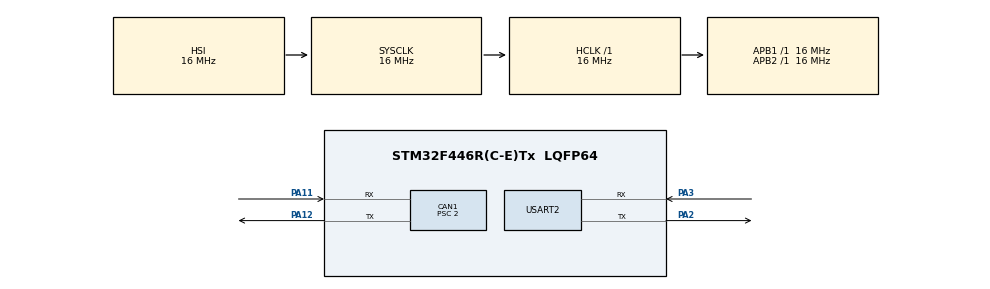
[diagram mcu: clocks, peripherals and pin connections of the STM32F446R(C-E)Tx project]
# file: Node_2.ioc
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CAN1.ABOM=ENABLE
CAN1.BS1=CAN_BS1_13TQ
CAN1.BS2=CAN_BS2_2TQ
CAN1.CalculateBaudRate=500000
CAN1.CalculateTimeBit=2000
CAN1.CalculateTimeQuantum=125.0
CAN1.Mode=CAN_MODE_SILENT
CAN1.NART=DISABLE
CAN1.Prescaler=2
Mcu.Family=STM32F4
Mcu.Name=STM32F446R(C-E)Tx
Mcu.Package=LQFP64
NVIC.PriorityGroup=NVIC_PRIORITYGROUP_0
PA11.Mode=CAN_Activate
PA11.Signal=CAN1_RX
PA12.Mode=CAN_Activate
PA12.Signal=CAN1_TX
PA2.Mode=Asynchronous
PA2.Signal=USART2_TX
PA3.Mode=Asynchronous
PA3.Signal=USART2_RX
ProjectManager.HeapSize=0x200
ProjectManager.StackSize=0x400
ProjectManager.TargetToolchain=STM32CubeIDE
RCC.48MHZClocksFreq_Value=84000000
RCC.AHBFreq_Value=16000000
RCC.APB1Freq_Value=16000000
RCC.APB1TimFreq_Value=16000000
RCC.APB2Freq_Value=16000000
RCC.APB2TimFreq_Value=16000000
RCC.CortexFreq_Value=16000000
RCC.FLatency-AdvancedSettings=FLASH_LATENCY_0
RCC.HCLKFreq_Value=16000000
RCC.HSE_VALUE=8000000
RCC.HSI_VALUE=16000000
RCC.PLLN=336
RCC.PLLP=RCC_PLLP_DIV4
RCC.SYSCLKFreq_VALUE=16000000
RCC.USBFreq_Value=168000000
RCC.VCOOutputFreq_Value=336000000
USART2.VirtualMode=VM_ASYNC
board=NUCLEO-F446RE

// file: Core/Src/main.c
/* USER CODE BEGIN Header */
/**
  ******************************************************************************
  * @file           : main.c
  * @brief          : Main program body
  ******************************************************************************
  * @attention
  *
  * Copyright (c) 2023 STMicroelectronics.
  * All rights reserved.
  *
  * This software is licensed under terms that can be found in the LICENSE file
  * in the root directory of this software component.
  * If no LICENSE file comes with this software, it is provided AS-IS.
  *
  ******************************************************************************
  */
/* USER CODE END Header */
#include "main.h"

CAN_HandleTypeDef hcan1;

UART_HandleTypeDef huart2;

void SystemClock_Config(void);
static void MX_GPIO_Init(void);
static void MX_USART2_UART_Init(void);
static void MX_CAN1_Init(void);
/* USER CODE BEGIN PFP */
// void CAN1_Rx(void);
void CAN_Filter_Config(void);
void Process_CAN_Message(CAN_RxHeaderTypeDef* RxHeader, uint8_t* data);
/* USER CODE END PFP */

/* USER CODE BEGIN 0 */
// uint16_t received_distance_1;
// uint16_t received_distance_2;
/* USER CODE END 0 */

int main(void)
{

  /* MCU Configuration--------------------------------------------------------*/

  /* Reset of all peripherals, Initializes the Flash interface and the Systick. */
  HAL_Init();

  /* Configure the system clock */
  SystemClock_Config();

  /* Initialize all configured peripherals */
  MX_GPIO_Init();
  MX_USART2_UART_Init();
  MX_CAN1_Init();
  /* USER CODE BEGIN 2 */
  CAN_Filter_Config();

  if( HAL_CAN_Start(&hcan1) != HAL_OK)
  {
	  Error_Handler();
  }

  CAN_RxHeaderTypeDef RxHeader;
  uint8_t rcvd_msg[8];
  /* USER CODE END 2 */

  /* Infinite loop */
  while (1)
  {

    /* USER CODE BEGIN 3 */
	  if(HAL_CAN_GetRxMessage(&hcan1,CAN_RX_FIFO0,&RxHeader,rcvd_msg) == HAL_OK)
	  {
		  Process_CAN_Message(&RxHeader, rcvd_msg);
	  }
  }
  /* USER CODE END 3 */
}

void SystemClock_Config(void)
{
  RCC_OscInitTypeDef RCC_OscInitStruct = {0};
  RCC_ClkInitTypeDef RCC_ClkInitStruct = {0};

  /** Configure the main internal regulator output voltage
  */
  __HAL_RCC_PWR_CLK_ENABLE();
  __HAL_PWR_VOLTAGESCALING_CONFIG(PWR_REGULATOR_VOLTAGE_SCALE3);

  /** Initializes the RCC Oscillators according to the specified parameters
  * in the RCC_OscInitTypeDef structure.
  */
  RCC_OscInitStruct.OscillatorType = RCC_OSCILLATORTYPE_HSI;
  RCC_OscInitStruct.HSIState = RCC_HSI_ON;
  RCC_OscInitStruct.HSICalibrationValue = RCC_HSICALIBRATION_DEFAULT;
  RCC_OscInitStruct.PLL.PLLState = RCC_PLL_NONE;
  if (HAL_RCC_OscConfig(&RCC_OscInitStruct) != HAL_OK)
  {
    Error_Handler();
  }

  /** Initializes the CPU, AHB and APB buses clocks
  */
  RCC_ClkInitStruct.ClockType = RCC_CLOCKTYPE_HCLK|RCC_CLOCKTYPE_SYSCLK
                              |RCC_CLOCKTYPE_PCLK1|RCC_CLOCKTYPE_PCLK2;
  RCC_ClkInitStruct.SYSCLKSource = RCC_SYSCLKSOURCE_HSI;
  RCC_ClkInitStruct.AHBCLKDivider = RCC_SYSCLK_DIV1;
  RCC_ClkInitStruct.APB1CLKDivider = RCC_HCLK_DIV1;
  RCC_ClkInitStruct.APB2CLKDivider = RCC_HCLK_DIV1;

  if (HAL_RCC_ClockConfig(&RCC_ClkInitStruct, FLASH_LATENCY_0) != HAL_OK)
  {
    Error_Handler();
  }
}

static void MX_CAN1_Init(void)
{

  hcan1.Instance = CAN1;
  hcan1.Init.Prescaler = 2;
  hcan1.Init.Mode = CAN_MODE_SILENT;
  hcan1.Init.SyncJumpWidth = CAN_SJW_1TQ;
  hcan1.Init.TimeSeg1 = CAN_BS1_13TQ;
  hcan1.Init.TimeSeg2 = CAN_BS2_2TQ;
  hcan1.Init.TimeTriggeredMode = DISABLE;
  hcan1.Init.AutoBusOff = ENABLE;
  hcan1.Init.AutoWakeUp = DISABLE;
  hcan1.Init.AutoRetransmission = DISABLE;
  hcan1.Init.ReceiveFifoLocked = DISABLE;
  hcan1.Init.TransmitFifoPriority = DISABLE;
  if (HAL_CAN_Init(&hcan1) != HAL_OK)
  {
    Error_Handler();
  }

}

static void MX_USART2_UART_Init(void)
{

  huart2.Instance = USART2;
  huart2.Init.BaudRate = 115200;
  huart2.Init.WordLength = UART_WORDLENGTH_8B;
  huart2.Init.StopBits = UART_STOPBITS_1;
  huart2.Init.Parity = UART_PARITY_NONE;
  huart2.Init.Mode = UART_MODE_TX_RX;
  huart2.Init.HwFlowCtl = UART_HWCONTROL_NONE;
  huart2.Init.OverSampling = UART_OVERSAMPLING_16;
  if (HAL_UART_Init(&huart2) != HAL_OK)
  {
    Error_Handler();
  }

}

static void MX_GPIO_Init(void)
{

  /* GPIO Ports Clock Enable */
  __HAL_RCC_GPIOA_CLK_ENABLE();

}

/* USER CODE BEGIN 4 */
void Process_CAN_Message(CAN_RxHeaderTypeDef* RxHeader, uint8_t* data)
{
	if(RxHeader->StdId == 0x65D)
	{
		char msg[50];
		uint16_t distance = (data[0] << 8) | data[1];
		sprintf(msg,"Message 1 Received : %d Centimeters\r\n",distance);
		HAL_UART_Transmit(&huart2,(uint8_t*)msg,strlen(msg),HAL_MAX_DELAY);
	}
	else if(RxHeader->StdId == 0x66D)
	{
		char msg[50];
		uint16_t distance = (data[0] << 8) | data[1];
		sprintf(msg,"Message 2 Received : %d Centimeters\r\n",distance);
		HAL_UART_Transmit(&huart2,(uint8_t*)msg,strlen(msg),HAL_MAX_DELAY);
	}
	else if(RxHeader->StdId == 0x67D)
	{
		char msg[50];
		uint16_t distance = (data[0] << 8) | data[1];
		sprintf(msg,"Message 3 Received : %d Centimeters\r\n",distance);
		HAL_UART_Transmit(&huart2,(uint8_t*)msg,strlen(msg),HAL_MAX_DELAY);
	}
	else if(RxHeader->StdId == 0x68D)
	{
		char msg[50];
		uint16_t distance = (data[0] << 8) | data[1];
		sprintf(msg,"Message 4 Received : %d Centimeters\r\n",distance);
		HAL_UART_Transmit(&huart2,(uint8_t*)msg,strlen(msg),HAL_MAX_DELAY);
	}
}

void CAN_Filter_Config(void)
{
	CAN_FilterTypeDef can1_filter_init;

	can1_filter_init.FilterActivation = ENABLE;
	can1_filter_init.FilterBank  = 0;
	can1_filter_init.FilterFIFOAssignment = CAN_RX_FIFO0;
	can1_filter_init.FilterIdHigh = 0x0000;
	can1_filter_init.FilterIdLow = 0x0000;
	can1_filter_init.FilterMaskIdHigh = 0x0000;
	can1_filter_init.FilterMaskIdLow = 0x0000;
	can1_filter_init.FilterMode = CAN_FILTERMODE_IDMASK;
	can1_filter_init.FilterScale = CAN_FILTERSCALE_32BIT;

	if( HAL_CAN_ConfigFilter(&hcan1,&can1_filter_init) != HAL_OK)
	{
		Error_Handler();
	}
}
/* USER CODE END 4 */

void Error_Handler(void)
{
  __disable_irq();
  while (1)
  {
  }
}
